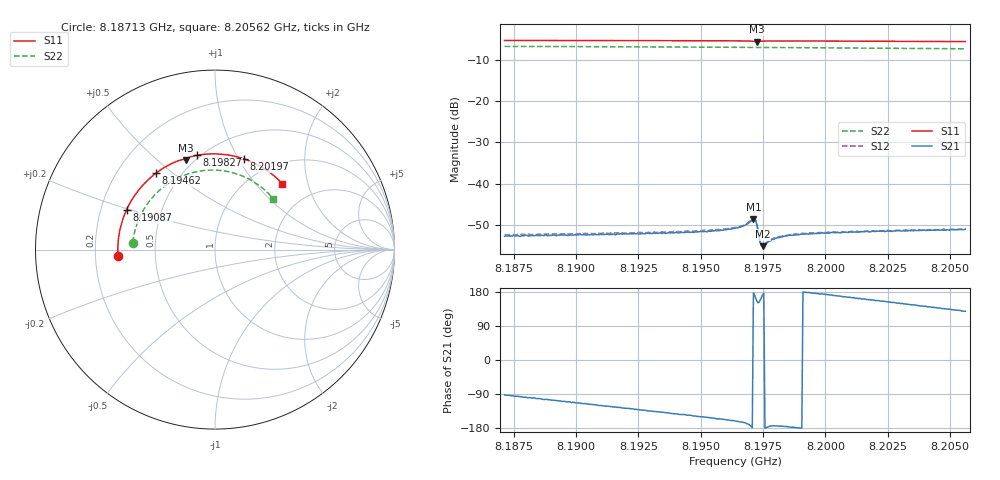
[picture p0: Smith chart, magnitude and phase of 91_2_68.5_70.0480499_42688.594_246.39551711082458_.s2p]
#  HZ  S  RI  R  50.00
! Rohde & Schwarz Vector Network Analyzer
! Rohde-Schwarz,ZNB20-2Port,1311601062101988,3.16
! Created: UTC 3/20/2024, 5:07:48 PM
! freq[Hz]  re:S11  im:S11  re:S21  im:S21  re:S12  im:S12  re:S22  im:S22
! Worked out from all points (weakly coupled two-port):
!   401 points, 8.18713 GHz to 8.20562 GHz, reference 50 ohm
!   highest |S21| = -48.58 dB at 8.19711 GHz (marker M1); lowest = -55.1 dB at 8.19748 GHz (marker M2)
!   lowest |S11| = -5.6 dB at 8.19725 GHz (marker M3), VSWR 3.20, Z = 22.6 + j31.1 ohm
!   |S11| at or under -10 dB: nowhere
!   |S22| runs from -7.3 to -6.8 dB; largest |S21 - S12| = 0.00019
!   S11 on the Smith chart (normalised r, x): 8.18713 GHz: 0.30, -0.03; 8.19087 GHz: 0.31, +0.19; 8.19462 GHz: 0.36, +0.44; 8.19827 GHz: 0.48, +0.71; 8.20197 GHz: 0.75, +1.05; 8.20562 GHz: 1.38, +1.40
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8.187127e9  -0.541 -0.0338  -9.31e-05 -0.00232  -0.000128 -0.00242  -0.458 0.0388
8.188652e9  -0.5365 0.0727  -0.000568 -0.00231  -0.000613 -0.00236  -0.4416 0.1218
8.190224e9  -0.51 0.1794  -0.001 -0.00221  -0.00111 -0.00221  -0.4087 0.2029
8.190872e9  -0.4928 0.2214  -0.00118 -0.00212  -0.00127 -0.00218  -0.3908 0.234
8.193322e9  -0.3976 0.3639  -0.00184 -0.00172  -0.00195 -0.00172  -0.3017 0.337
8.194617e9  -0.33 0.425  -0.00216 -0.00144  -0.00227 -0.00141  -0.2432 0.3792
8.195819e9  -0.2584 0.4708  -0.00251 -0.00114  -0.00257 -0.00105  -0.183 0.4096
8.196374e9  -0.2225 0.488  -0.00275 -0.000958  -0.0028 -0.00087  -0.1538 0.4206
8.196697e9  -0.2004 0.4966  -0.00297 -0.000811  -0.00306 -0.00069  -0.1362 0.4259
8.197113e9  -0.1684 0.5014  -0.00372 0.000215  -0.00376 0.00035  -0.1134 0.4317
8.197206e9  -0.164 0.4983  -0.00342 0.00106  -0.00339 0.00121  -0.1086 0.4326
8.197252e9  -0.1639 0.4976  -0.00292 0.00133  -0.00292 0.00147  -0.1061 0.4332
8.197391e9  -0.1616 0.5043  -0.00178 0.000695  -0.00179 0.000833  -0.0986 0.4349
8.197437e9  -0.1589 0.5068  -0.00172 0.000445  -0.00173 0.000549  -0.096 0.4354
8.197483e9  -0.1557 0.509  -0.00174 0.000259  -0.00176 0.00034  -0.0932 0.436
8.19753e9  -0.1523 0.5107  -0.00179 0.000121  -0.00182 0.000204  -0.0907 0.4366
8.197946e9  -0.1221 0.5208  -0.00212 -0.000243  -0.00222 -0.000141  -0.0674 0.44
8.198269e9  -0.099 0.5255  -0.00225 -0.0002  -0.00232 -0.000114  -0.0491 0.4417
8.199471e9  -0.0137 0.5335  -0.00247 0.000133  -0.00253 0.000277  0.019 0.442
8.201968e9  0.1599 0.506  -0.00245 0.001  -0.00243 0.00114  0.157 0.4083
8.202569e9  0.1995 0.4908  -0.00238 0.00121  -0.00235 0.00131  0.1882 0.3936
8.205621e9  0.3754 0.3673  -0.00176 0.00221  -0.00171 0.00227  0.3244 0.282
